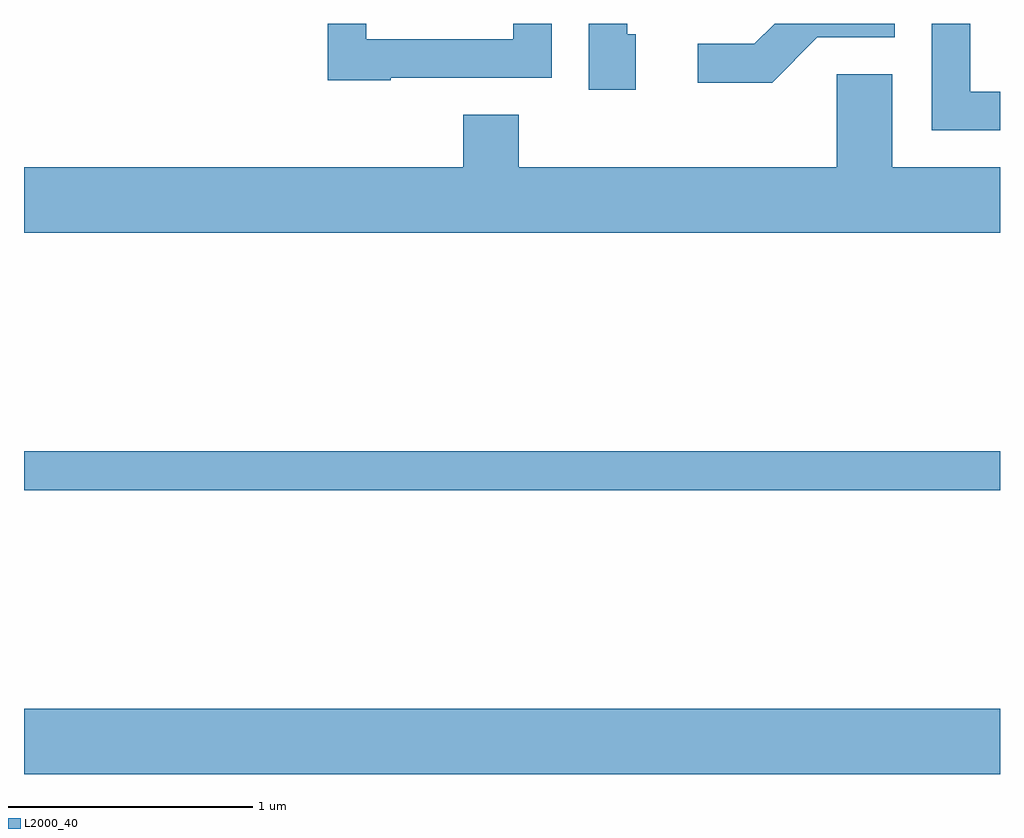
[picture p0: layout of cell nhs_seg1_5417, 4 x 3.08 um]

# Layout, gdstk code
import gdstk
lib = gdstk.Library(unit=1e-6, precision=1e-09)
def R(c, l, rs):  # rectangles x0, y0, x1, y1
    for r in rs: c.add(gdstk.rectangle(r[:2], r[2:], *l))
def P(c, l, *ps):  # polygons
    for p in ps: c.add(gdstk.Polygon(p, *l))
L2000_40 = (2000, 40)

nhs_seg1_5417 = lib.new_cell('nhs_seg1_5417')
R(nhs_seg1_5417, L2000_40, [(347.611,950.636,351.611,950.904), (347.611,951.801,351.611,951.959)])
P(nhs_seg1_5417, L2000_40, [(350.862,953.656),(351.179,953.656),(351.179,953.712),(350.687,953.712),(350.604,953.629),(350.373,953.629),(350.373,953.471),(350.677,953.471)],
  [(350.119,953.669),(350.084,953.669),(350.084,953.712),(349.926,953.712),(349.926,953.441),(350.119,953.441)],
  [(351.611,953.434),(351.489,953.434),(351.489,953.712),(351.331,953.712),(351.331,953.276),(351.611,953.276)],
  [(349.115,953.491),(349.774,953.491),(349.774,953.712),(349.616,953.712),(349.616,953.649),(349.014,953.649),(349.014,953.712),(348.856,953.712),(348.856,953.481),(349.115,953.481)],
  [(351.611,953.124),(351.169,953.124),(351.169,953.504),(350.941,953.504),(350.941,953.124),(349.639,953.124),(349.639,953.339),(349.411,953.339),(349.411,953.124),(347.611,953.124),(347.611,952.856),(351.611,952.856)])

lib.write_gds('nhs_seg1_5417.gds')
